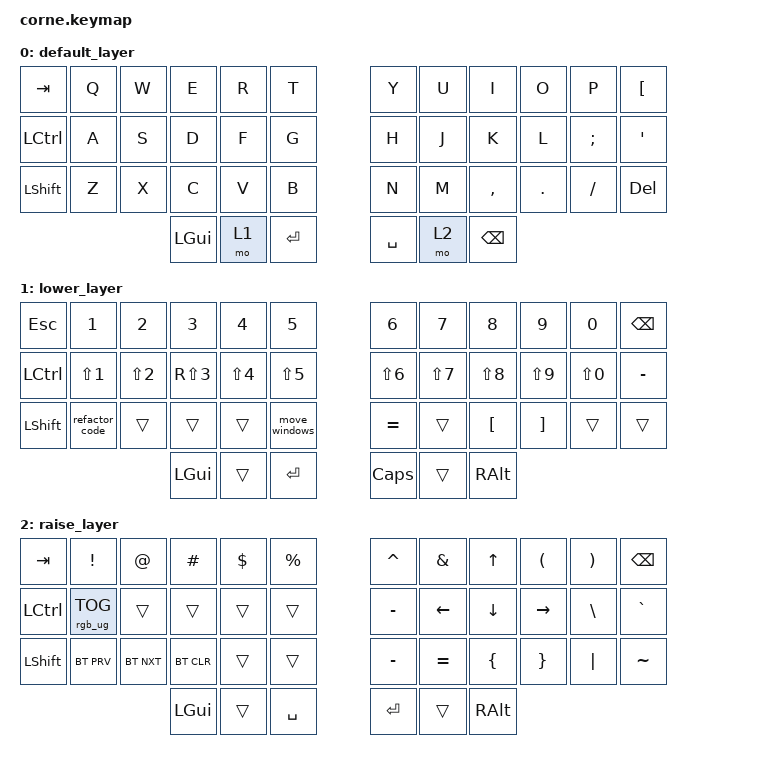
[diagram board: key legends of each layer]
/*
 * Copyright (c) 2020 The ZMK Contributors
 *
 * SPDX-License-Identifier: MIT
 */

#include <behaviors.dtsi>
#include <dt-bindings/zmk/bt.h>
#include <dt-bindings/zmk/keys.h>
#include <dt-bindings/zmk/rgb.h>

/ {
    macros {
        move_windows: move_windows {
            compatible = "zmk,behavior-macro";
            #binding-cells = <0>;
            bindings =
                <&macro_press>,
                <&kp LCMD &kp LEFT_SHIFT &kp LEFT_ARROW>,
                <&macro_release>,
                <&kp LEFT_WIN &kp LEFT_SHIFT &kp LEFT>;

            label = "MOVE_WINDOWS";
        };

        refactor_code: refactor_code {
            compatible = "zmk,behavior-macro";
            #binding-cells = <0>;
            bindings =
                <&macro_press>,
                <&kp LC(LA(LG(L)))>,
                <&macro_release>,
                <&kp LC(LA(LS(L)))>;

            label = "REFACTOR_CODE";
        };
    };

	/ {
		combos {
			compatible = "zmk,combos";

			combo_studio_unlock {
				timeout-ms = <50>;
				key-positions = <0 1>;
				bindings = <&studio_unlock>;
			};
		};
		
    keymap {
        compatible = "zmk,keymap";

        default_layer {
            // -----------------------------------------------------------------------------------------
            // |  TAB |  Q  |  W  |  E  |  R  |  T  |   |  Y  |  U   |  I  |  O  |  P  | BKSP |
            // | CTRL |  A  |  S  |  D  |  F  |  G  |   |  H  |  J   |  K  |  L  |  ;  |  '   |
            // | SHFT |  Z  |  X  |  C  |  V  |  B  |   |  N  |  M   |  ,  |  .  |  /  | ESC  |
            //                    | GUI | LWR | SPC |   | ENT | RSE  | ALT |

            bindings = <
&kp TAB    &kp Q  &kp W  &kp E     &kp R  &kp T        &kp Y      &kp U  &kp I          &kp O    &kp P     &kp LEFT_BRACKET
&kp LCTRL  &kp A  &kp S  &kp D     &kp F  &kp G        &kp H      &kp J  &kp K          &kp L    &kp SEMI  &kp SQT
&kp LSHFT  &kp Z  &kp X  &kp C     &kp V  &kp B        &kp N      &kp M  &kp COMMA      &kp DOT  &kp FSLH  &kp DELETE
                         &kp LGUI  &mo 1  &kp ENTER    &kp SPACE  &mo 2  &kp BACKSPACE
            >;
        };

        lower_layer {
            // -----------------------------------------------------------------------------------------
            // |  TAB |  1  |  2  |  3  |  4  |  5  |   |  6  |  7  |  8  |  9  |  0  | BKSP |
            // | BTCLR| BT1 | BT2 | BT3 | BT4 | BT5 |   | LFT | DWN |  UP | RGT |     |      |
            // | SHFT |     |     |     |     |     |   |     |     |     |     |     |      |
            //                    | GUI |     | SPC |   | ENT |     | ALT |

            bindings = <
&kp ESCAPE        &kp N1            &kp N2            &kp N3            &kp N4            &kp N5              &kp N6            &kp N7            &kp N8            &kp N9            &kp N0            &kp BSPC
&kp LEFT_CONTROL  &kp LS(NUMBER_1)  &kp LS(NUMBER_2)  &kp RS(NUMBER_3)  &kp LS(NUMBER_4)  &kp LS(NUMBER_5)    &kp LS(NUMBER_6)  &kp LS(NUMBER_7)  &kp LS(NUMBER_8)  &kp LS(NUMBER_9)  &kp LS(NUMBER_0)  &kp MINUS
&kp LSHFT         &refactor_code    &trans            &trans            &trans            &move_windows       &kp EQUAL         &trans            &kp LEFT_BRACKET  &kp RBKT          &trans            &trans
                                                      &kp LGUI          &trans            &kp ENTER           &kp CAPSLOCK      &trans            &kp RALT
            >;
        };

        raise_layer {
            // -----------------------------------------------------------------------------------------
            // |  TAB |  !  |  @  |  #  |  $  |  %  |   |  ^  |  &  |  *  |  (  |  )  | BKSP |
            // | CTRL |     |     |     |     |     |   |  -  |  =  |  [  |  ]  |  \  |  `   |
            // | SHFT |     |     |     |     |     |   |  _  |  +  |  {  |  }  | "|" |  ~   |
            //                    | GUI |     | SPC |   | ENT |     | ALT |

            bindings = <
&kp TAB    &kp EXCL         &kp AT      &kp HASH    &kp DLLR  &kp PRCNT    &kp CARET  &kp AMPS   &kp UP_ARROW  &kp LPAR   &kp RPAR  &kp BSPC
&kp LCTRL  &rgb_ug RGB_TOG  &trans      &trans      &trans    &trans       &kp MINUS  &kp LEFT   &kp DOWN      &kp RIGHT  &kp BSLH  &kp GRAVE
&kp LSHFT  &bt BT_PRV       &bt BT_NXT  &bt BT_CLR  &trans    &trans       &kp MINUS  &kp EQUAL  &kp LBRC      &kp RBRC   &kp PIPE  &kp TILDE
                                        &kp LGUI    &trans    &kp SPACE    &kp RET    &trans     &kp RALT
            >;
        };
    };
};
